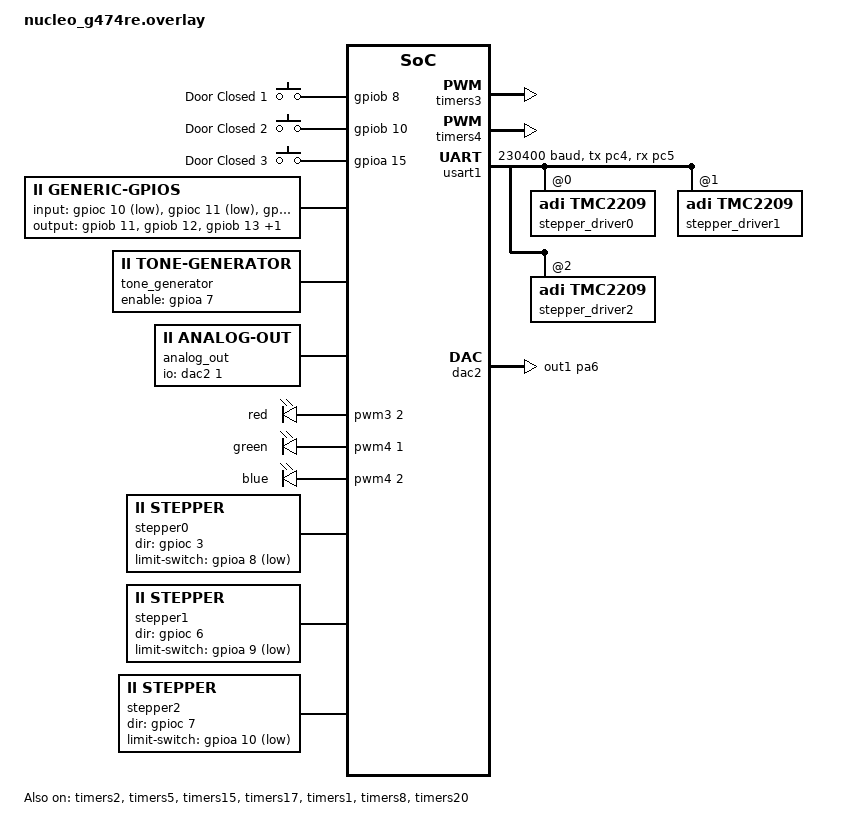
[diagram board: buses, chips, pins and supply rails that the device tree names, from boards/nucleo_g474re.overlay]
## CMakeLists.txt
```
cmake_minimum_required(VERSION 3.20.0)

# Generate a version file based on the git tag & hash at project configuration time
find_package(Python3 3.8 REQUIRED COMPONENTS Interpreter)
execute_process(
        COMMAND ${Python3_EXECUTABLE} ../gen_version.py
        OUTPUT_FILE ${CMAKE_CURRENT_SOURCE_DIR}/VERSION
        ERROR_VARIABLE VERSION_GENERATION_ERROR
        RESULT_VARIABLE VERSION_GENERATION_RESULT
        WORKING_DIRECTORY ${CMAKE_CURRENT_SOURCE_DIR}
)

if(NOT VERSION_GENERATION_RESULT STREQUAL "0")
    message(FATAL_ERROR "Failed to generate firmware VERSION:\n${VERSION_GENERATION_ERROR}")
endif()

find_package(Zephyr REQUIRED HINTS $ENV{ZEPHYR_BASE})
project(pellet_module_firmware)

set(SRCS
        src/main.c
)

target_sources(app PRIVATE ${SRCS})
target_include_directories(app PRIVATE .)
```

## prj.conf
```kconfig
CONFIG_LOG=y
CONFIG_SHELL=y
CONFIG_CONSOLE=y

CONFIG_PM=n
CONFIG_PM_DEVICE=n

# Flash driver to store firmware image
CONFIG_FLASH=y
CONFIG_FLASH_MAP=y
CONFIG_FLASH_PAGE_LAYOUT=y
CONFIG_STREAM_FLASH=y

CONFIG_INPUT=y
CONFIG_INPUT_GPIO_KEYS=y
CONFIG_INPUT_MODE_SYNCHRONOUS=y
CONFIG_INPUT_EVENT_DUMP=n

CONFIG_LIB_MOTOR_MOTION=y

CONFIG_LIB_JERRYCAN=n
CONFIG_LIB_JERRYCAN_RGB_LED=n
CONFIG_LIB_JERRYCAN_DOOR_SENSOR=n

CONFIG_DEBUG=y
CONFIG_DMA_LOG_LEVEL_DBG=n

# This is useful for debugging, but not recommended for production
# CONFIG_THREAD_ANALYZER=y
# CONFIG_THREAD_ANALYZER_USE_LOG=y
# CONFIG_THREAD_ANALYZER_AUTO=y
# CONFIG_THREAD_ANALYZER_AUTO_INTERVAL=30
# CONFIG_THREAD_NAME=y

CONFIG_SETTINGS=y
CONFIG_SETTINGS_SHELL=y

CONFIG_NVS=y
CONFIG_SETTINGS_NVS=y

CONFIG_CAN=y
CONFIG_CAN_FD_MODE=y


CONFIG_LIB_JERRYCAN=y
CONFIG_LIB_JERRYCAN_DOOR_SENSOR=y
CONFIG_LIB_JERRYCAN_RGB_LED=y

CONFIG_LIB_MOTOR_MOTION_SHELL=y
CONFIG_ADI_TMC2209_SHELL=y
# INFO so the post-init configuration check logs the values it read back, not only mismatches
CONFIG_ADI_TMC2209_DEBUG_LEVEL=3

# Run-Time Priorities

# Highest priority is managing the servos and motors
CONFIG_LIB_MOTOR_MOTION_WORK_QUEUE_PRIORITY=-3
# Then the CANbus I/O (jerrycan_run is called within the context of main())
CONFIG_MAIN_THREAD_PRIORITY=-2
# Background writes should have lowest priority
CONFIG_LIB_MOTOR_MOTION_SETTINGS_WORK_QUEUE_PRIORITY=99

# Stack Sizes

CONFIG_LIB_MOTOR_MOTION_WORK_QUEUE_STACK_SIZE=1024
CONFIG_LIB_MOTOR_MOTION_SETTINGS_WORK_QUEUE_STACK_SIZE=1024
# The stepper status work runs the fixed-XYZ sequence, which plans moves, on the system workqueue
CONFIG_SYSTEM_WORKQUEUE_STACK_SIZE=2048
```

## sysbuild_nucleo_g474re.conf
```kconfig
# The dev board has 512K of internal flash and no external SPI-NOR to hold a second
# image slot; two slots big enough for this firmware do not fit. Build the
# application on its own instead, so it keeps the debug-friendly -Og build and the
# whole of flash. The JerryCAN bootloader commands are unavailable as a result.
SB_CONFIG_BOOTLOADER_NONE=y

# Only meaningful with MCUboot; cleared so sysbuild.conf's value isn't left dangling.
SB_CONFIG_BOOT_SIGNATURE_KEY_FILE=""
```

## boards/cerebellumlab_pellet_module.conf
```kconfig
# Settings that only apply to hardware the pellet module board carries: the external
# SPI-NOR flash that holds the MCUboot secondary slot, and the USB device port. Kept
# out of prj.conf so builds for boards without them (nucleo_g474re, which has no room
# for a second image slot) don't assign symbols whose dependencies are unmet.

CONFIG_BOOTLOADER_MCUBOOT=y
CONFIG_IMG_MANAGER=y
CONFIG_MCUBOOT_IMG_MANAGER=y

CONFIG_SPI_NOR_FLASH_LAYOUT_PAGE_SIZE=4096
CONFIG_SPI_NOR_SFDP_RUNTIME=y

CONFIG_USB_DEVICE_STACK=y
# Use FTDI's VID and PID as we're only using the device as a serial port
CONFIG_USB_DEVICE_VID=0x0403
CONFIG_USB_DEVICE_PID=0x6001
CONFIG_USB_DEVICE_MANUFACTURER="FTDI"
CONFIG_USB_DEVICE_PRODUCT="USB-DEV"
CONFIG_USB_DEVICE_SN="0123456789ABCDEF"
CONFIG_USB_DEVICE_INITIALIZE_AT_BOOT=y

CONFIG_USB_CDC_ACM=y
```

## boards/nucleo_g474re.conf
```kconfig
# The Nucleo's board defconfig leaves the FPU off, and the motor motion library
# needs it. Sharing is on to avoid the Cortex-M4 context switch erratum, as on the
# pellet module board.
CONFIG_FPU=y
CONFIG_FPU_SHARING=y

# Keep the image inside code_partition so it cannot grow over the settings storage:
# without MCUboot the linker would otherwise be handed the whole 512K.
CONFIG_USE_DT_CODE_PARTITION=y

# No USB connector on this board, and FDCAN1 uses the PA11/PA12 pins the USB
# peripheral would need. The console is the ST-LINK virtual COM port on LPUART1.
CONFIG_USB_DEVICE_STACK=n
CONFIG_USB_CDC_ACM=n
```

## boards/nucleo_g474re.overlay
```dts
/*
 * Pellet module firmware on a NUCLEO-G474RE dev board.
 *
 * Same SoC as the pellet module, so every peripheral instance and DMAMUX request
 * line is kept identical to boards/arm/cerebellumlab_pellet_module; only the pins
 * move, onto pins that the Nucleo brings out on the Arduino/ST-morpho headers.
 * Nothing here is wired to real hardware - this exists so the firmware builds and
 * boots on the dev board.
 *
 *   ext_button_1   PC13  B1 (user button)      door_sensor_1  PB8   D15
 *   door_sensor_2  PB10  D6                    door_sensor_3  PA15  CN7-17
 *   CAN_ID[0..3]   PC10  PC11  PB0  PB1        STIM0..3       PB11..PB14
 *   rgb red/green/blue   PB5 (D4)  PB6 (D10)  PB7 (CN7-21)
 *   servo0/1/2     PA1 (A1)  PB15 (CN10-26)  PB9 (D14)
 *   stepper0 step/dir/limit  PC2  PC3  PA8 (D7)
 *   stepper1 step/dir/limit  PC9  PC6  PA9 (D8)
 *   stepper2 step/dir/limit  PC8  PC7 (D9)  PA10 (D2)
 *   TMC2209 UART   PC4/PC5 (D1/D0)            tone DAC/enable  PA4 (A2) / PA7 (D11)
 *   analog out     PA6 (D12)
 */

#include "nucleo_g474re_partitions.dtsi"

/ {
	aliases {
		/* pwmleds below is deleted, so this alias would dangle */
		/delete-property/ pwm-led0;
	};

	/* TIM2 drives the tone generator sample rate here, as on the pellet module,
	 * so it cannot also back the board's PWM LED. */
	/delete-node/ pwmleds;

	gpio_keys {
		compatible = "gpio-keys";

		door_sensor_1: door_sensor_1 {
			label = "Door Closed 1";
			gpios = <&gpiob 8 (GPIO_PULL_DOWN | GPIO_ACTIVE_HIGH)>;
			zephyr,code = <INPUT_KEY_5>;
			status = "okay";
		};

		door_sensor_2: door_sensor_2 {
			label = "Door Closed 2";
			gpios = <&gpiob 10 (GPIO_PULL_DOWN | GPIO_ACTIVE_HIGH)>;
			zephyr,code = <INPUT_KEY_6>;
			status = "okay";
		};

		door_sensor_3: door_sensor_3 {
			label = "Door Closed 3";
			gpios = <&gpioa 15 (GPIO_PULL_DOWN | GPIO_ACTIVE_HIGH)>;
			zephyr,code = <INPUT_KEY_7>;
			status = "okay";
		};
	};

	generic-gpios {
		status = "okay";
		compatible = "ll,generic-gpios";
		input-gpios = <&gpioc 10 GPIO_ACTIVE_LOW>,  // CAN_ID[0] / NodeNumber[0]
					  <&gpioc 11 GPIO_ACTIVE_LOW>,  // CAN_ID[1] / NodeNumber[1]
					  <&gpiob 0 GPIO_ACTIVE_HIGH>,  // CAN_ID[2] / DeviceType[0]
					  <&gpiob 1 GPIO_ACTIVE_HIGH>;  // CAN_ID[3] / DeviceType[1]
		input-gpio-names = "CAN_ID[0]",
						   "CAN_ID[1]",
						   "CAN_ID[2]",
						   "CAN_ID[3]";
		input-gpio-interrupt-enable = "DISABLE", "DISABLE", "DISABLE", "DISABLE";
		output-gpios = <&gpiob 11 GPIO_ACTIVE_HIGH>, // STIM0
					   <&gpiob 12 GPIO_ACTIVE_HIGH>, // STIM1
					   <&gpiob 13 GPIO_ACTIVE_HIGH>, // STIM2
					   <&gpiob 14 GPIO_ACTIVE_HIGH>; // STIM3
		output-gpio-names = "STIM0",
						    "STIM1",
						    "STIM2",
						    "STIM3";
		output-gpio-interrupt-enable = "DISABLE", "DISABLE", "DISABLE", "DISABLE";
	};

	tone_generator {
		compatible = "ll,tone-generator";
		status = "okay";

		sample-rate-timer = <&timers2>;
		dac = <&dac1>;
		dac-channel = <1>;
		dmas = <&dmamux1 6 6 STM32_DMA_PRIORITY_HIGH>;
		dma-names = "tx";
		enable-gpios = <&gpioa 7 GPIO_ACTIVE_HIGH>;
	};

	analog_out: analog_out {
		compatible = "ll,analog-out";
		status = "okay";
		io-channels = <&dac2 1>;
		resolution = <12>;
	};

	rgb_led: rgb-led {
		compatible = "pwm-leds";
		status = "okay";

		red_pwm_led: red_pwm_led {
			pwms = <&pwm3 2 PWM_MSEC(10) PWM_POLARITY_NORMAL>;
			label = "red";
		};

		green_pwm_led_rgb: green_pwm_led_rgb {
			pwms = <&pwm4 1 PWM_MSEC(10) PWM_POLARITY_NORMAL>;
			label = "green";
		};

		blue_pwm_led: blue_pwm_led {
			pwms = <&pwm4 2 PWM_MSEC(10) PWM_POLARITY_NORMAL>;
			label = "blue";
		};
	};
};

/* The Nucleo's user button stands in for the external button input. */
ext_button_1: &user_button {
	label = "Ext Button 1";
};

/* Freed up so their pins can serve the peripherals above:
 * SPI1 PA5/PA6/PA7 + PB6, SPI2 PB12-PB15, SPI3 PA15 + PC10-PC12, I2C1 PB8/PB9. */
&spi1 {
	status = "disabled";
};

&spi2 {
	status = "disabled";
};

&spi3 {
	status = "disabled";
};

&i2c1 {
	status = "disabled";
};

/* jerrycan runs 1 Mbit/s nominal with a 5 Mbit/s data phase. Zephyr only accepts a
 * bit timing where core_clock % (prescaler * bitrate) == 0, and 5 Mbit/s is
 * unreachable from the board's 24 MHz HSE, so take the FDCAN kernel clock from
 * PCLK1 at 170 MHz as the pellet module board does. */
&fdcan1 {
	clocks = <&rcc STM32_CLOCK_BUS_APB1 0x02000000>,
			 <&rcc STM32_SRC_PCLK FDCAN_SEL(1)>;
};

&dma1 {
	status = "okay";
};

&dmamux1 {
	status = "okay";
};

&timers2 {
	status = "okay";
};

&pwm2 {
	status = "disabled";
};

&timers3 {
	st,prescaler = <84>; // 170 MHz / (84 + 1) = 2 MHz
	status = "okay";

	pwm3: pwm {
		status = "okay";
		pinctrl-0 = <&tim3_ch2_pb5>;
		pinctrl-names = "default";
	};
};

&timers4 {
	st,prescaler = <84>; // 170 MHz / (84 + 1) = 2 MHz
	status = "okay";

	pwm4: pwm {
		status = "okay";
		pinctrl-0 = <&tim4_ch1_pb6 &tim4_ch2_pb7>;
		pinctrl-names = "default";
	};
};

&timers5 {
	status = "okay";
	st,prescaler = <84>; // 170 MHz / (84 + 1) = 2 MHz

	servo0: servo0 {
		compatible = "ll,servo";
		status = "okay";

		pinctrl-0 = <&tim5_ch2_pa1>;
		pinctrl-names = "default";

		pwm-channel = <2>;

		dmas = <&dmamux1 0 76 STM32_DMA_PRIORITY_MEDIUM>;
		dma-names = "tx";
	};
};

&timers15 {
	status = "okay";
	st,prescaler = <84>; // 170 MHz / (84 + 1) = 2 MHz

	servo1: servo1 {
		compatible = "ll,servo";
		status = "okay";

		pinctrl-0 = <&tim15_ch2_pb15>;
		pinctrl-names = "default";

		pwm-channel = <2>;

		dmas = <&dmamux1 1 79 STM32_DMA_PRIORITY_MEDIUM>;
		dma-names = "tx";
	};
};

&timers17 {
	status = "okay";
	st,prescaler = <84>; // 170 MHz / (84 + 1) = 2 MHz

	servo2: servo2 {
		compatible = "ll,servo";
		status = "okay";

		pinctrl-0 = <&tim17_ch1_pb9>;
		pinctrl-names = "default";

		pwm-channel = <1>;

		dmas = <&dmamux1 2 85 STM32_DMA_PRIORITY_MEDIUM>;
		dma-names = "tx";
	};
};

&timers1 {
	status = "okay";
	st,prescaler = <849>; // 170 MHz / (849 + 1) = 200 kHz

	stepper0: stepper0 {
		compatible = "ll,stepper";
		status = "okay";

		pinctrl-0 = <&tim1_ch3_pc2>;
		pinctrl-names = "default";

		dir-gpios = <&gpioc 3 GPIO_ACTIVE_HIGH>;

		pwm-channel = <3>;

		dmas = <&dmamux1 3 46 STM32_DMA_PRIORITY_MEDIUM>;
		dma-names = "tx";

		driver-dev = <&stepper_driver0>;
		limit-switch-gpios = <&gpioa 8 (GPIO_PULL_DOWN | GPIO_ACTIVE_LOW)>;
	};
};

&timers8 {
	status = "okay";
	st,prescaler = <849>; // 170 MHz / (849 + 1) = 200 kHz

	stepper1: stepper1 {
		compatible = "ll,stepper";
		status = "okay";

		pinctrl-0 = <&tim8_ch4_pc9>;
		pinctrl-names = "default";

		dir-gpios = <&gpioc 6 GPIO_ACTIVE_HIGH>;

		pwm-channel = <4>;

		dmas = <&dmamux1 4 53 STM32_DMA_PRIORITY_MEDIUM>;
		dma-names = "tx";

		driver-dev = <&stepper_driver1>;
		limit-switch-gpios = <&gpioa 9 (GPIO_PULL_DOWN | GPIO_ACTIVE_LOW)>;
	};
};

&timers20 {
	status = "okay";
	st,prescaler = <849>; // 170 MHz / (849 + 1) = 200 kHz

	stepper2: stepper2 {
		compatible = "ll,stepper";
		status = "okay";

		pinctrl-0 = <&tim20_ch3_pc8>;
		pinctrl-names = "default";

		dir-gpios = <&gpioc 7 GPIO_ACTIVE_HIGH>;

		pwm-channel = <3>;

		dmas = <&dmamux1 5 90 STM32_DMA_PRIORITY_MEDIUM>;
		dma-names = "tx";

		driver-dev = <&stepper_driver2>;
		limit-switch-gpios = <&gpioa 10 (GPIO_PULL_DOWN | GPIO_ACTIVE_LOW)>;
	};
};

/* The pellet module talks to the TMC2209s on USART2; that one is the ST-LINK
 * virtual COM port here, so the drivers move to USART1 on the Arduino D0/D1 pins. */
&usart1 {
	current-speed = <230400>;
	parity = "none";
	stop-bits = "1";
	data-bits = <8>;
	pinctrl-0 = <&usart1_tx_pc4 &usart1_rx_pc5>;
	pinctrl-names = "default";
	#size-cells = <0>;
	#address-cells = <1>;
	status = "okay";
	fifo-enable;

	stepper_driver0: stepper_driver0@0 {
		compatible = "adi,tmc2209";
		reg = <0x00>;
		status = "okay";
	};

	stepper_driver1: stepper_driver1@1 {
		compatible = "adi,tmc2209";
		reg = <0x01>;
		status = "okay";
	};

	stepper_driver2: stepper_driver2@2 {
		compatible = "adi,tmc2209";
		reg = <0x02>;
		status = "okay";
	};
};

&dac2 {
	pinctrl-0 = <&dac2_out1_pa6>;
	pinctrl-names = "default";
	status = "okay";
};

/* Pull-downs on the stepper STEP pins, as on the pellet module. */
&tim1_ch3_pc2 {
	bias-pull-down;
};

&tim8_ch4_pc9 {
	bias-pull-down;
};

&tim20_ch3_pc8 {
	bias-pull-down;
};
```

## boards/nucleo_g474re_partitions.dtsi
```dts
/*
 * Flash map used when the pellet module firmware is built for a NUCLEO-G474RE.
 *
 * No bootloader in this build (see sysbuild_nucleo_g474re.conf), so the image gets
 * everything except the settings storage at the top of the 512K. Erase block size
 * is 2K, so both boundaries are 2K aligned.
 */

&flash0 {
	/delete-node/ partitions;

	partitions {
		compatible = "fixed-partitions";
		#address-cells = <1>;
		#size-cells = <1>;

		code_partition: partition@0 {
			label = "image-0";
			reg = <0x00000000 DT_SIZE_K(480)>;
		};

		storage_partition: partition@78000 {
			label = "storage";
			reg = <0x00078000 DT_SIZE_K(32)>;
		};
	};
};

/ {
	chosen {
		zephyr,code-partition = &code_partition;
	};
};
```

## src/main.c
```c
#include <app_version.h>
#include <zephyr/logging/log.h>

#include "jerrycan.h"

LOG_MODULE_REGISTER(app);

int main() {
    LOG_INF("Autotrainer Pellet Module v%s", APP_VERSION_STRING);

    while (true) {
        jerrycan_run(K_FOREVER);
    }
}
```
